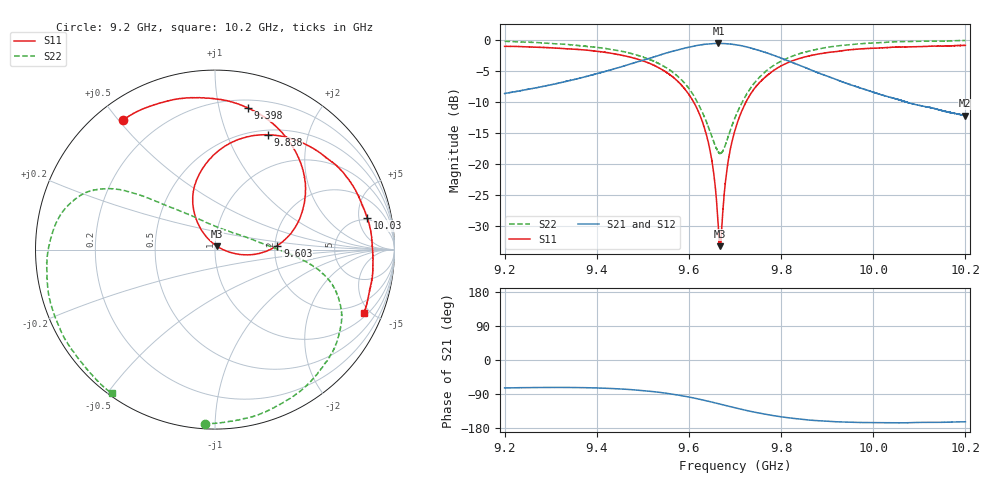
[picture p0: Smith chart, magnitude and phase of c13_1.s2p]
!Agilent Technologies,N5242A,MY51221714,A.09.90.19
!Agilent N5242A: A.09.90.19
!Date: Saturday, December 30, 2023 10:46:39
!Correction: S11(Full 2 Port(1,2))
!S21(Full 2 Port(1,2))
!S12(Full 2 Port(1,2))
!S22(Full 2 Port(1,2))
!S2P File: Measurements: S11, S21, S12, S22:
# Hz S  dB  R 50
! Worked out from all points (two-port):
!   16001 points, 9.2 GHz to 10.2 GHz, reference 50 ohm
!   highest |S21| = -0.59 dB at 9.664 GHz (marker M1); lowest = -12.2 dB at 10.2 GHz (marker M2)
!   |S21| within 3 dB of the highest: 9.486555 GHz to 9.486617 GHz (61.71 kHz wide, 0.00065 % of centre); 9.487 GHz to 9.822 GHz (335 MHz wide, 3.47 % of centre)
!   lowest |S11| = -33.2 dB at 9.668 GHz (marker M3), VSWR 1.04, Z = 51.1 + j1.91 ohm
!   |S11| at or under -10 dB: 9.61 GHz to 9.724 GHz (114.2 MHz wide, 1.18 % of centre)
!   |S22| runs from -18.3 to -0.1 dB; largest |S21 - S12| = 0.015
!   S11 on the Smith chart (normalised r, x): 9.2 GHz: 0.08, +0.51; 9.398 GHz: 0.27, +1.23; 9.603 GHz: 2.06, +0.10; 9.838 GHz: 0.56, +1.41; 10.03 GHz: 4.57, +6.46; 10.2 GHz: 1.23, -4.62
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9.2e9  -1.06 125.3  -8.65 -73.7  -8.62 -74.6  -0.24 -93.4
9.275125e9  -1.22 108.0  -7.64 -72.7  -7.61 -73.2  -0.47 -73.1
9.366688e9  -1.60 85.2  -6.11 -72.9  -6.09 -73.7  -0.98 -49.4
9.3975e9  -1.85 76.8  -5.51 -73.7  -5.49 -74.5  -1.20 -41.7
9.4645e9  -2.66 56.8  -4.10 -77.4  -4.09 -78.2  -2.02 -27.2
9.533375e9  -4.47 32.6  -2.54 -84.9  -2.53 -85.6  -3.78 -14.4
9.603062e9  -9.16 3.6  -1.14 -98.5  -1.13 -99.3  -8.16 -1.9
9.643188e9  -16.89 -10.9  -0.67 -109.2  -0.66 -109.9  -14.21 19.8
9.654375e9  -21.90 -9.7  -0.61 -112.4  -0.60 -113.2  -16.52 35.5
9.664e9  -30.32 14.1  -0.59 -115.3  -0.59 -116.0  -18.02 58.0
9.66775e9  -33.22 58.8  -0.60 -116.4  -0.58 -117.1  -18.26 69.0
9.6835e9  -20.32 124.6  -0.65 -121.2  -0.63 -121.9  -15.97 107.6
9.7e9  -14.60 122.3  -0.79 -126.0  -0.76 -126.8  -12.56 125.4
9.75025e9  -7.15 100.7  -1.69 -139.5  -1.66 -140.3  -6.25 143.0
9.838062e9  -3.05 65.3  -4.05 -155.6  -4.04 -156.4  -2.27 154.9
9.866688e9  -2.50 55.6  -4.90 -159.0  -4.90 -159.7  -1.71 159.3
9.950125e9  -1.61 31.7  -7.22 -164.1  -7.22 -164.9  -0.80 175.0
1.00315e10  -1.26 11.8  -9.16 -165.6  -9.14 -166.4  -0.39 -167.1
1.003338e10  -1.24 11.5  -9.20 -165.5  -9.18 -166.4  -0.39 -166.7
1.011138e10  -1.08 -5.1  -10.74 -164.5  -10.73 -165.2  -0.23 -148.0
1.019919e10  -0.90 -22.7  -12.20 -163.0  -12.18 -163.9  -0.12 -126.0
1.02e10  -0.90 -22.9  -12.20 -163.0  -12.19 -163.8  -0.12 -125.8
